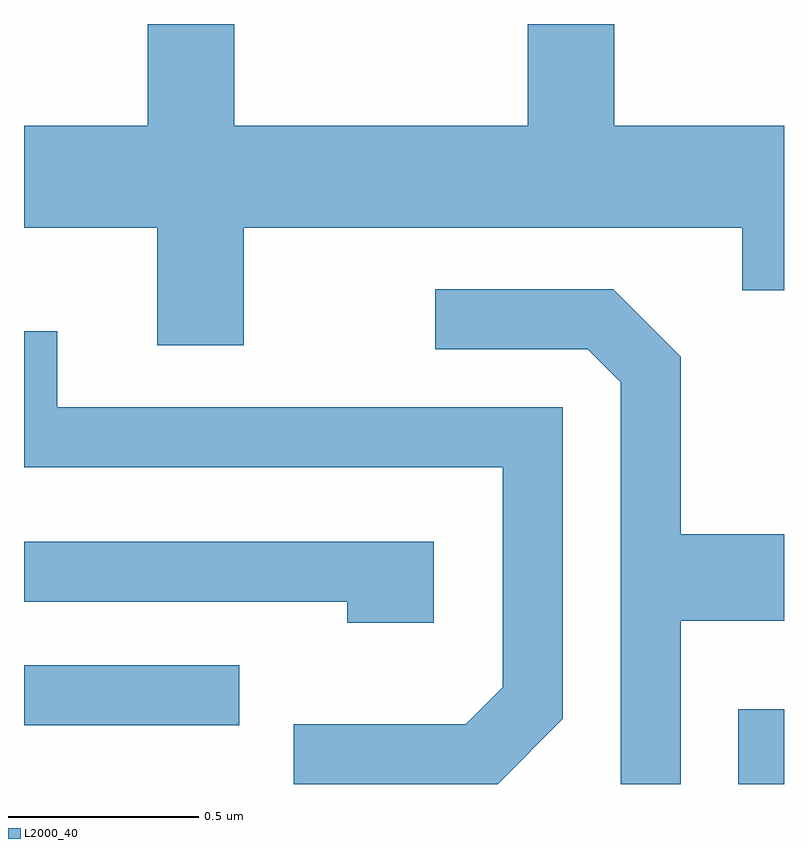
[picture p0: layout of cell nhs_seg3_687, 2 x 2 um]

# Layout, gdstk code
import gdstk
lib = gdstk.Library(unit=1e-6, precision=1e-09)
def R(c, l, rs):  # rectangles x0, y0, x1, y1
    for r in rs: c.add(gdstk.rectangle(r[:2], r[2:], *l))
def P(c, l, *ps):  # polygons
    for p in ps: c.add(gdstk.Polygon(p, *l))
L2000_40 = (2000, 40)

nhs_seg3_687 = lib.new_cell('nhs_seg3_687')
R(nhs_seg3_687, L2000_40, [(192.491,1117.892,192.611,1118.089), (190.611,1118.046,191.178,1118.204)])
P(nhs_seg3_687, L2000_40, [(191.189,1119.356),(192.501,1119.356),(192.501,1119.191),(192.611,1119.191),(192.611,1119.624),(192.164,1119.624),(192.164,1119.892),(191.936,1119.892),(191.936,1119.624),(191.164,1119.624),(191.164,1119.892),(190.936,1119.892),(190.936,1119.624),(190.611,1119.624),(190.611,1119.356),(190.961,1119.356),(190.961,1119.046),(191.189,1119.046)],
  [(192.339,1118.321),(192.611,1118.321),(192.611,1118.549),(192.339,1118.549),(192.339,1119.017),(192.162,1119.194),(191.693,1119.194),(191.693,1119.036),(192.094,1119.036),(192.181,1118.949),(192.181,1117.892),(192.339,1117.892)],
  [(192.029,1118.064),(192.029,1118.884),(190.699,1118.884),(190.699,1119.083),(190.611,1119.083),(190.611,1118.726),(191.871,1118.726),(191.871,1118.147),(191.774,1118.049),(191.321,1118.049),(191.321,1117.892),(191.858,1117.892)],
  [(191.689,1118.529),(190.611,1118.529),(190.611,1118.371),(191.461,1118.371),(191.461,1118.316),(191.689,1118.316)])

lib.write_gds('nhs_seg3_687.gds')
